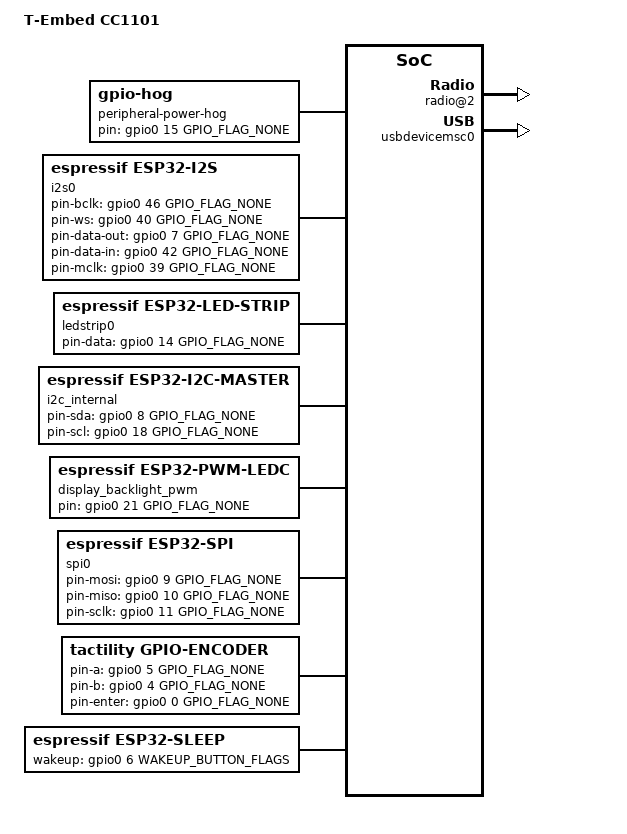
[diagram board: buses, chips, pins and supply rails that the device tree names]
/dts-v1/;

#include <tactility/bindings/root.h>
#include <tactility/bindings/esp32_ble.h>
#include <tactility/bindings/esp32_gpio.h>
#include <tactility/bindings/esp32_usbhost.h>
#include <tactility/bindings/esp32_i2c_master.h>
#include <tactility/bindings/esp32_i2s.h>
#include <tactility/bindings/esp32_pwm_ledc.h>
#include <tactility/bindings/esp32_sdspi.h>
#include <tactility/bindings/esp32_sleep.h>
#include <tactility/bindings/esp32_spi.h>
#include <tactility/bindings/esp32_wifi_pinned.h>
#include <tactility/bindings/esp32_usbdevice.h>
#include <tactility/bindings/gpio_hog.h>
#include <tactility/bindings/pwm_backlight.h>

#include <bindings/st7789.h>
#include <bindings/dummy_i2s_amp.h>
#include <bindings/pdm_mic.h>
#include <bindings/bq25896.h>
#include <bindings/bq27220.h>
#include <bindings/gpio_encoder.h>
#include <bindings/esp32_led_strip.h>
#include <bindings/cc1101.h>

#define WAKEUP_BUTTON_FLAGS (GPIO_FLAG_ACTIVE_LOW | GPIO_FLAG_PULL_UP)

// Reference:
// https://wiki.lilygo.cc/products/t-embed-series/t-embed-cc1101/
// https://github.com/Xinyuan-LilyGO/T-Embed-CC1101
// https://lilygo.cc/products/t-embed-cc1101
/ {
	compatible = "root";
	model = "T-Embed CC1101";

	wifi0 {
		compatible = "espressif,esp32-wifi-pinned";
	};

	ble0 {
		compatible = "espressif,esp32-ble";
	};

	gpio0 {
		compatible = "espressif,esp32-gpio";
		gpio-count = <49>;
	};

	// Required to enable peripherals like BQ25896
	peripheral-power-hog {
		compatible = "gpio-hog";
		pin = <&gpio0 15 GPIO_FLAG_NONE>;
		mode = <GPIO_HOG_MODE_OUTPUT_HIGH>;
	};

	// Speaker I2S (MAX98357A amplifier)
	i2s0 {
		compatible = "espressif,esp32-i2s";
		port = <I2S_NUM_0>;
		pin-bclk = <&gpio0 46 GPIO_FLAG_NONE>;
		pin-ws = <&gpio0 40 GPIO_FLAG_NONE>;
		pin-data-out = <&gpio0 7 GPIO_FLAG_NONE>;
		pin-data-in = <&gpio0 42 GPIO_FLAG_NONE>;
		pin-mclk = <&gpio0 39 GPIO_FLAG_NONE>;
	};

	// MAX98357A class-D speaker amplifier. No I2C.
	speaker0 {
		compatible = "maxim,max98357a";
		i2s = <&i2s0>;
	};

	mic0 {
		compatible = "generic,spm1423";
		i2s = <&i2s0>;
		channels = <1>;
	};

	// WS2812 RGB LED Ring
	// TODO - Sync on/off with DisplayIdle?
	ledstrip0 {
		compatible = "espressif,esp32-led-strip";
		pin-data = <&gpio0 14 GPIO_FLAG_NONE>;
		led-count = <8>;
	};

	i2c_internal: i2c0 {
		compatible = "espressif,esp32-i2c-master";
		port = <I2C_NUM_0>;
		clock-frequency = <100000>;
		pin-sda = <&gpio0 8 GPIO_FLAG_NONE>;
		pin-scl = <&gpio0 18 GPIO_FLAG_NONE>;

		bq27220 {
			compatible = "ti,bq27220";
			reg = <0x55>;
		};

		bq25896 {
			compatible = "ti,bq25896";
			reg = <0x6B>;
		};

		// TODO - Add PN532 NFC - IRQ GPIO 17, RES GPIO 45, address 0x24 - driver needed
	};

	display_backlight_pwm {
		compatible = "espressif,esp32-pwm-ledc";
		pin = <&gpio0 21 GPIO_FLAG_NONE>;
		period-ns = <33333>;
		ledc-timer = <0>;
		ledc-channel = <0>;
	};

	display_backlight {
		compatible = "pwm-backlight";
		// Off by default so dispaly power-on won't show the screen from before the last power loss.
		// The display backlight is turned on during the boot process.
		status = "disabled";
		pwm = <&display_backlight_pwm>;
	};

	spi0 {
		compatible = "espressif,esp32-spi";
		host = <SPI2_HOST>;
		cs-gpios = <&gpio0 41 GPIO_FLAG_NONE>, // Display
			<&gpio0 13 GPIO_FLAG_NONE>, // SD card
			<&gpio0 12 GPIO_FLAG_NONE>; // Radio - CC1101
		pin-mosi = <&gpio0 9 GPIO_FLAG_NONE>;
		pin-miso = <&gpio0 10 GPIO_FLAG_NONE>;
		pin-sclk = <&gpio0 11 GPIO_FLAG_NONE>;

		display@0 {
			compatible = "sitronix,st7789";
			horizontal-resolution = <320>;
			vertical-resolution = <170>;
			gap-x = <35>;
			swap-xy;
			mirror-y;
			invert-color;
			pixel-clock-hz = <80000000>;
			pin-dc = <&gpio0 16 GPIO_FLAG_NONE>;
			backlight = <&display_backlight>;
		};

		sdcard@1 {
			compatible = "espressif,esp32-sdspi";
			frequency-khz = <20000>;
		};

		// CC1101 transceiver: CS/GDO0 = GPIO 12/3. SW1/SW0 (GPIO 47/48) select the
		// antenna matching network: 315 MHz = 1/0, 433 MHz = 1/1, 868/915 MHz = 0/1.
		// Module power comes from the peripheral power hog (GPIO 15).
		radio@2 {
			compatible = "ti,cc1101";
			reg = <2>;
			pin-gdo0 = <&gpio0 3 GPIO_FLAG_NONE>;
			pin-band-switch-0 = <&gpio0 48 GPIO_FLAG_NONE>;
			pin-band-switch-1 = <&gpio0 47 GPIO_FLAG_NONE>;
			band-switch-low = <2>;
			band-switch-mid = <3>;
			band-switch-high = <1>;
		};
	};

	encoder {
		compatible = "tactility,gpio-encoder";
		pin-a = <&gpio0 5 GPIO_FLAG_NONE>;
		pin-b = <&gpio0 4 GPIO_FLAG_NONE>;
		pin-enter = <&gpio0 0 GPIO_FLAG_NONE>;
		pulses-per-detent = <2>;
		pending-capacity = <8>;
	};

	sleep {
		compatible = "espressif,esp32-sleep";
		wakeup-gpios = <&gpio0 6 WAKEUP_BUTTON_FLAGS>;
	};

	usbdevice0 {
		compatible = "espressif,esp32-usbdevice";

		usbdevicemsc0 {
			compatible = "espressif,esp32-usbdevice-msc";
		};
	};

	usbhost0 {
		compatible = "espressif,esp32-usbhost";
		status = "disabled";
	};
};
